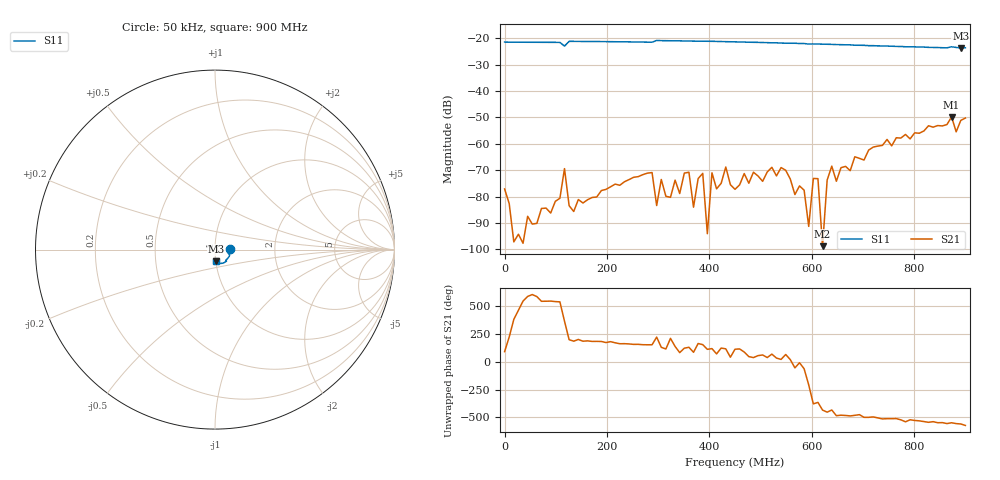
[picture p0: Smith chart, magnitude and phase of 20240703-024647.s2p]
# HZ S RI R 50
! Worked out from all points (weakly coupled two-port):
!   101 points, 50 kHz to 900 MHz, reference 50 ohm
!   highest |S21| = -49.80 dB at 873 MHz (marker M1); lowest = -98.8 dB at 621 MHz (marker M2)
!   lowest |S11| = -23.7 dB at 891 MHz (marker M3), VSWR 1.14, Z = 50.3 - j6.57 ohm
!   |S11| at or under -10 dB: start of sweep to end of sweep
!   S12 and S22 are empty: the file has one direction only
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50000  0.085 0.000951  -5.33e-06 0.000139  0 0  0 0
1.08044e8  0.08 -0.025  -9.3e-05 -1.39e-07  0 0  0 0
1.170435e8  0.0704 -0.0118  0.000337 3.31e-05  0 0  0 0
1.26043e8  0.0825 -0.03  -6.33e-05 -2.26e-05  0 0  0 0
1.530415e8  0.0797 -0.0358  -7.51e-05 -7.88e-06  0 0  0 0
3.06033e8  0.0628 -0.0652  -0.000138 0.000159  0 0  0 0
3.24032e8  0.0598 -0.0673  -8.24e-05 -5.08e-05  0 0  0 0
3.6003e8  0.0539 -0.0708  -0.000191 0.000218  0 0  0 0
3.690295e8  0.0523 -0.0716  4.04e-06 6.28e-05  0 0  0 0
3.870285e8  0.0493 -0.0731  -0.00025 0.000116  0 0  0 0
3.96028e8  0.0481 -0.0737  -7.65e-06 1.82e-05  0 0  0 0
4.32026e8  0.0423 -0.0756  -0.000167 0.000323  0 0  0 0
4.50025e8  0.0394 -0.0763  -5.54e-05 0.000126  0 0  0 0
5.4002e8  0.0278 -0.0766  0.000328 0.000134  0 0  0 0
5.94017e8  0.021 -0.0751  -2.41e-05 1.26e-05  0 0  0 0
6.030165e8  0.0212 -0.0753  0.00021 -6.8e-05  0 0  0 0
6.210155e8  0.0198 -0.0751  3.19e-06 -1.1e-05  0 0  0 0
6.390145e8  0.0183 -0.0746  0.00011 -0.000361  0 0  0 0
7.56008e8  0.0115 -0.07  -0.000803 -0.000438  0 0  0 0
8.730015e8  0.00717 -0.0688  -0.00321 0.000453  0 0  0 0
8.910005e8  0.00683 -0.0651  -0.00263 0.000905  0 0  0 0
9e8  0.00624 -0.066  -0.00261 0.00165  0 0  0 0
